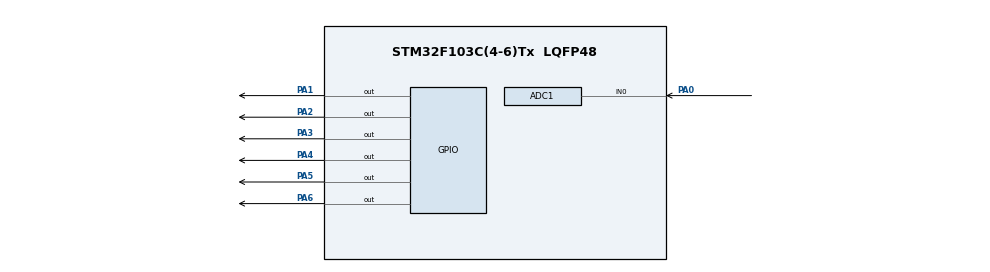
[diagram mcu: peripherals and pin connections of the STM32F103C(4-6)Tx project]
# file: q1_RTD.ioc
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ADC1.Channel-0\#ChannelRegularConversion=ADC_CHANNEL_0
ADC1.NbrOfConversionFlag=1
ADC1.Rank-0\#ChannelRegularConversion=1
ADC1.SamplingTime-0\#ChannelRegularConversion=ADC_SAMPLETIME_1CYCLE_5
ADC1.master=1
Mcu.Family=STM32F1
Mcu.Name=STM32F103C(4-6)Tx
Mcu.Package=LQFP48
NVIC.PriorityGroup=NVIC_PRIORITYGROUP_4
PA0-WKUP.Signal=ADCx_IN0
PA1.Signal=GPIO_Output
PA2.Signal=GPIO_Output
PA3.Signal=GPIO_Output
PA4.Signal=GPIO_Output
PA5.Signal=GPIO_Output
PA6.Signal=GPIO_Output
ProjectManager.HeapSize=0x200
ProjectManager.StackSize=0x400
ProjectManager.TargetToolchain=STM32CubeIDE
RCC.APB1Freq_Value=8000000
RCC.APB2Freq_Value=8000000
SH.ADCx_IN0.0=ADC1_IN0,IN0
VP_SYS_VS_ND.Mode=No_Debug
board=custom

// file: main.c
/* USER CODE BEGIN Header */
/**
  ******************************************************************************
  * @file           : main.c
  * @brief          : Main program body
  ******************************************************************************
  * @attention
  *
  * Copyright (c) 2026 STMicroelectronics.
  * All rights reserved.
  *
  * This software is licensed under terms that can be found in the LICENSE file
  * in the root directory of this software component.
  * If no LICENSE file comes with this software, it is provided AS-IS.
  *
  ******************************************************************************
  */
/* USER CODE END Header */
#include "main.h"

/* USER CODE BEGIN Includes */
#include "lcd.h"
#include <stdio.h>
/* USER CODE END Includes */

ADC_HandleTypeDef hadc1;

void SystemClock_Config(void);
static void MX_GPIO_Init(void);
static void MX_ADC1_Init(void);

int main(void)
{

  /* MCU Configuration--------------------------------------------------------*/

  /* Reset of all peripherals, Initializes the Flash interface and the Systick. */
  HAL_Init();

  /* Configure the system clock */
  SystemClock_Config();

  /* Initialize all configured peripherals */
  MX_GPIO_Init();
  MX_ADC1_Init();
  /* USER CODE BEGIN 2 */
  Lcd_PortType ports[] = {GPIOA, GPIOA, GPIOA, GPIOA};
    Lcd_PinType pins[] = {GPIO_PIN_3, GPIO_PIN_4, GPIO_PIN_5, GPIO_PIN_6};

    // Create and initialize LCD instance (RS=PA1, EN=PA2)
    Lcd_HandleTypeDef lcd = Lcd_create(ports, pins, GPIOA, GPIO_PIN_1, GPIOA, GPIO_PIN_2, LCD_4_BIT_MODE);

    Lcd_cursor(&lcd, 0, 0);
    Lcd_string(&lcd, "RTD Sensor Init");
    HAL_Delay(1000);
    Lcd_clear(&lcd);
  /* USER CODE END 2 */

  /* Infinite loop */
    while (1)
      {
        /* USER CODE BEGIN 3 */

        HAL_ADC_Start(&hadc1);

        if (HAL_ADC_PollForConversion(&hadc1, 10) == HAL_OK)
        {
            uint32_t adc_val = HAL_ADC_GetValue(&hadc1);
            float voltage = ((float)adc_val / 4095.0f) * 5.0f;
            float resistance = voltage * 100.0f;
            float temperature = (resistance - 100.0f) / 0.385f;

            char line1[16];
            char line2[16];

            sprintf(line1, "Volt: %.3f V", voltage);
            sprintf(line2, "R:%.1f T:%.1fC", resistance, temperature);
            Lcd_cursor(&lcd, 0, 0);
            Lcd_string(&lcd, line1);
            Lcd_cursor(&lcd, 1, 0);
            Lcd_string(&lcd, line2);
        }
        HAL_ADC_Stop(&hadc1);

        HAL_Delay(500);
      }
}
  /* USER CODE END 3 */

void SystemClock_Config(void)
{
  RCC_OscInitTypeDef RCC_OscInitStruct = {0};
  RCC_ClkInitTypeDef RCC_ClkInitStruct = {0};
  RCC_PeriphCLKInitTypeDef PeriphClkInit = {0};

  /** Initializes the RCC Oscillators according to the specified parameters
  * in the RCC_OscInitTypeDef structure.
  */
  RCC_OscInitStruct.OscillatorType = RCC_OSCILLATORTYPE_HSI;
  RCC_OscInitStruct.HSIState = RCC_HSI_ON;
  RCC_OscInitStruct.HSICalibrationValue = RCC_HSICALIBRATION_DEFAULT;
  RCC_OscInitStruct.PLL.PLLState = RCC_PLL_NONE;
  if (HAL_RCC_OscConfig(&RCC_OscInitStruct) != HAL_OK)
  {
    Error_Handler();
  }

  /** Initializes the CPU, AHB and APB buses clocks
  */
  RCC_ClkInitStruct.ClockType = RCC_CLOCKTYPE_HCLK|RCC_CLOCKTYPE_SYSCLK
                              |RCC_CLOCKTYPE_PCLK1|RCC_CLOCKTYPE_PCLK2;
  RCC_ClkInitStruct.SYSCLKSource = RCC_SYSCLKSOURCE_HSI;
  RCC_ClkInitStruct.AHBCLKDivider = RCC_SYSCLK_DIV1;
  RCC_ClkInitStruct.APB1CLKDivider = RCC_HCLK_DIV1;
  RCC_ClkInitStruct.APB2CLKDivider = RCC_HCLK_DIV1;

  if (HAL_RCC_ClockConfig(&RCC_ClkInitStruct, FLASH_LATENCY_0) != HAL_OK)
  {
    Error_Handler();
  }
  PeriphClkInit.PeriphClockSelection = RCC_PERIPHCLK_ADC;
  PeriphClkInit.AdcClockSelection = RCC_ADCPCLK2_DIV2;
  if (HAL_RCCEx_PeriphCLKConfig(&PeriphClkInit) != HAL_OK)
  {
    Error_Handler();
  }
}

static void MX_ADC1_Init(void)
{

  ADC_ChannelConfTypeDef sConfig = {0};

  /** Common config
  */
  hadc1.Instance = ADC1;
  hadc1.Init.ScanConvMode = ADC_SCAN_DISABLE;
  hadc1.Init.ContinuousConvMode = DISABLE;
  hadc1.Init.DiscontinuousConvMode = DISABLE;
  hadc1.Init.ExternalTrigConv = ADC_SOFTWARE_START;
  hadc1.Init.DataAlign = ADC_DATAALIGN_RIGHT;
  hadc1.Init.NbrOfConversion = 1;
  if (HAL_ADC_Init(&hadc1) != HAL_OK)
  {
    Error_Handler();
  }

  /** Configure Regular Channel
  */
  sConfig.Channel = ADC_CHANNEL_0;
  sConfig.Rank = ADC_REGULAR_RANK_1;
  sConfig.SamplingTime = ADC_SAMPLETIME_1CYCLE_5;
  if (HAL_ADC_ConfigChannel(&hadc1, &sConfig) != HAL_OK)
  {
    Error_Handler();
  }

}

static void MX_GPIO_Init(void)
{
  GPIO_InitTypeDef GPIO_InitStruct = {0};

  /* GPIO Ports Clock Enable */
  __HAL_RCC_GPIOA_CLK_ENABLE();

  /*Configure GPIO pin Output Level */
  HAL_GPIO_WritePin(GPIOA, GPIO_PIN_1|GPIO_PIN_2|GPIO_PIN_3|GPIO_PIN_4
                          |GPIO_PIN_5|GPIO_PIN_6, GPIO_PIN_RESET);

  /*Configure GPIO pins : PA1 PA2 PA3 PA4
                           PA5 PA6 */
  GPIO_InitStruct.Pin = GPIO_PIN_1|GPIO_PIN_2|GPIO_PIN_3|GPIO_PIN_4
                          |GPIO_PIN_5|GPIO_PIN_6;
  GPIO_InitStruct.Mode = GPIO_MODE_OUTPUT_PP;
  GPIO_InitStruct.Pull = GPIO_NOPULL;
  GPIO_InitStruct.Speed = GPIO_SPEED_FREQ_LOW;
  HAL_GPIO_Init(GPIOA, &GPIO_InitStruct);

}

void Error_Handler(void)
{
  __disable_irq();
  while (1)
  {
  }
}
